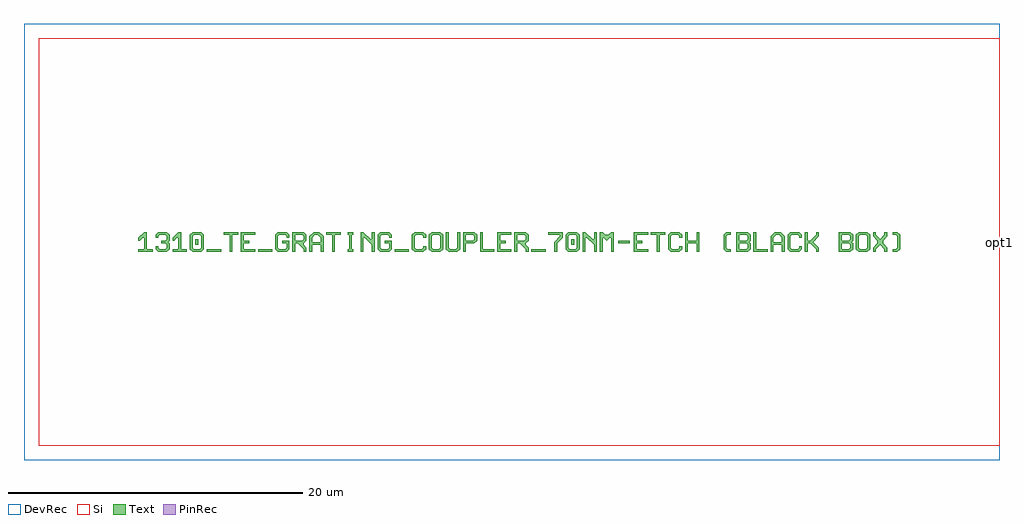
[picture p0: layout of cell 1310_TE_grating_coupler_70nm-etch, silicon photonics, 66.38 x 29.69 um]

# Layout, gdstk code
import gdstk
lib = gdstk.Library(unit=1e-6, precision=1e-09)
def R(c, l, rs):  # rectangles x0, y0, x1, y1
    for r in rs: c.add(gdstk.rectangle(r[:2], r[2:], *l))
def A(c, l, x, y, w, h, nx, ny, dx, dy):  # array of equal rectangles
    R(c, l, [(x+i*dx, y+j*dy, x+i*dx+w, y+j*dy+h) for i in range(nx) for j in range(ny)])
def P(c, l, *ps):  # polygons
    for p in ps: c.add(gdstk.Polygon(p, *l))
Si = (1, 0)
PinRec = (1, 10)
Text = (10, 0)
DevRec = (68, 0)

text = lib.new_cell('TEXT')
A(text, Text, 8.134, 0, 0.969, 0.194, 3, 1, 9.296, 0)
R(text, Text, [(4.648,0,5.617,0.194), (3.873,0.484,4.067,0.872), (29.437,0.484,29.631,0.872), (32.633,0.581,33.408,0.775)])
P(text, Text, [(0,0),(0,0.194),(0.387,0.194),(0.387,0.969),(0.291,0.969),(0.097,0.775),(0,0.775),(0,0.969),(0.387,1.356),(0.581,1.356),(0.581,0.194),(0.969,0.194),(0.969,0)],
  [(1.356,0),(1.162,0.194),(1.162,0.387),(1.356,0.387),(1.356,0.291),(1.453,0.194),(1.84,0.194),(1.937,0.291),(1.937,0.484),(1.84,0.581),(1.549,0.581),(1.549,0.775),(1.84,0.775),(1.937,0.872),(1.937,1.065),(1.84,1.162),(1.453,1.162),(1.356,1.065),(1.356,0.969),(1.162,0.969),(1.162,1.162),(1.356,1.356),(1.937,1.356),(2.131,1.162),(2.131,0.775),(2.034,0.678),(2.131,0.581),(2.131,0.194),(1.937,0)],
  [(2.324,0),(2.324,0.194),(2.711,0.194),(2.711,0.969),(2.615,0.969),(2.421,0.775),(2.324,0.775),(2.324,0.969),(2.711,1.356),(2.905,1.356),(2.905,0.194),(3.293,0.194),(3.293,0)],
  [(3.68,0),(3.486,0.194),(3.486,1.162),(3.68,1.356),(4.261,1.356),(4.455,1.162),(3.777,1.162),(3.68,1.065),(3.68,0.291),(3.777,0.194),(4.164,0.194),(4.261,0.291),(4.261,1.065),(4.164,1.162),(4.455,1.162),(4.455,0.194),(4.261,0)],
  [(6.197,0),(6.197,1.162),(5.81,1.162),(5.81,1.356),(6.779,1.356),(6.779,1.162),(6.391,1.162),(6.391,0)],
  [(6.972,0),(6.972,1.356),(7.941,1.356),(7.941,1.162),(7.166,1.162),(7.166,0.775),(7.553,0.775),(7.553,0.581),(7.166,0.581),(7.166,0.194),(7.941,0.194),(7.941,0)],
  [(9.49,0),(9.296,0.194),(9.296,1.162),(9.49,1.356),(10.071,1.356),(10.265,1.162),(10.265,0.969),(10.071,0.969),(10.071,1.065),(9.974,1.162),(9.587,1.162),(9.49,1.065),(9.49,0.291),(9.587,0.194),(9.974,0.194),(10.071,0.291),(10.071,0.581),(9.78,0.581),(9.78,0.775),(10.265,0.775),(10.265,0.194),(10.071,0)],
  [(10.458,0),(10.458,1.356),(11.233,1.356),(11.427,1.162),(10.652,1.162),(10.652,0.775),(11.136,0.775),(11.233,0.872),(11.233,1.065),(11.136,1.162),(11.427,1.162),(11.427,0.775),(11.233,0.581),(11.233,0.484),(11.427,0.291),(11.427,0),(11.233,0),(11.233,0.194),(10.845,0.581),(10.652,0.581),(10.652,0)],
  [(11.62,0),(11.62,1.065),(11.911,1.356),(12.298,1.356),(12.492,1.162),(12.007,1.162),(11.814,0.969),(11.814,0.678),(12.395,0.678),(12.395,0.969),(12.201,1.162),(12.492,1.162),(12.589,1.065),(12.589,0),(12.395,0),(12.395,0.484),(11.814,0.484),(11.814,0)],
  [(13.169,0),(13.169,1.162),(12.782,1.162),(12.782,1.356),(13.751,1.356),(13.751,1.162),(13.363,1.162),(13.363,0)],
  [(14.235,0),(14.235,0.194),(14.331,0.194),(14.331,1.162),(14.235,1.162),(14.235,1.356),(14.622,1.356),(14.622,1.162),(14.525,1.162),(14.525,0.194),(14.622,0.194),(14.622,0)],
  [(15.106,0),(15.106,1.356),(15.3,1.356),(15.784,0.872),(15.881,0.872),(15.881,1.356),(16.075,1.356),(16.075,0),(15.881,0),(15.881,0.484),(15.397,0.969),(15.3,0.969),(15.3,0)],
  [(16.462,0),(16.268,0.194),(16.268,1.162),(16.462,1.356),(17.043,1.356),(17.237,1.162),(17.237,0.969),(17.043,0.969),(17.043,1.065),(16.946,1.162),(16.559,1.162),(16.462,1.065),(16.462,0.291),(16.559,0.194),(16.946,0.194),(17.043,0.291),(17.043,0.581),(16.752,0.581),(16.752,0.775),(17.237,0.775),(17.237,0.194),(17.043,0)],
  [(18.786,0),(18.592,0.194),(18.592,1.162),(18.786,1.356),(19.367,1.356),(19.561,1.162),(19.561,0.969),(19.367,0.969),(19.367,1.065),(19.27,1.162),(18.883,1.162),(18.786,1.065),(18.786,0.291),(18.883,0.194),(19.27,0.194),(19.367,0.291),(19.367,0.387),(19.561,0.387),(19.561,0.194),(19.367,0)],
  [(19.948,0),(19.754,0.194),(19.754,1.162),(19.948,1.356),(20.529,1.356),(20.723,1.162),(20.723,0.678),(20.529,0.678),(20.529,1.065),(20.432,1.162),(20.045,1.162),(19.948,1.065),(19.948,0.291),(20.045,0.194),(20.432,0.194),(20.529,0.291),(20.529,0.678),(20.723,0.678),(20.723,0.194),(20.529,0)],
  [(21.11,0),(20.916,0.194),(20.916,1.356),(21.11,1.356),(21.11,0.291),(21.207,0.194),(21.594,0.194),(21.691,0.291),(21.691,1.356),(21.885,1.356),(21.885,0.194),(21.691,0)],
  [(22.078,0),(22.078,1.356),(22.853,1.356),(23.047,1.162),(23.047,0.775),(22.853,0.581),(22.272,0.581),(22.272,0.775),(22.756,0.775),(22.853,0.872),(22.853,1.065),(22.756,1.162),(22.272,1.162),(22.272,0)],
  [(23.24,0),(23.24,1.356),(23.434,1.356),(23.434,0.194),(24.209,0.194),(24.209,0)],
  [(24.402,0),(24.402,1.356),(25.371,1.356),(25.371,1.162),(24.596,1.162),(24.596,0.775),(24.983,0.775),(24.983,0.581),(24.596,0.581),(24.596,0.194),(25.371,0.194),(25.371,0)],
  [(25.564,0),(25.564,1.356),(26.339,1.356),(26.533,1.162),(25.758,1.162),(25.758,0.775),(26.242,0.775),(26.339,0.872),(26.339,1.065),(26.242,1.162),(26.533,1.162),(26.533,0.775),(26.339,0.581),(26.339,0.484),(26.533,0.291),(26.533,0),(26.339,0),(26.339,0.194),(25.951,0.581),(25.758,0.581),(25.758,0)],
  [(28.275,0),(28.275,0.678),(28.663,1.065),(28.663,1.162),(27.888,1.162),(27.888,1.356),(28.857,1.356),(28.857,0.969),(28.469,0.581),(28.469,0)],
  [(29.244,0),(29.05,0.194),(29.05,1.162),(29.244,1.356),(29.825,1.356),(30.019,1.162),(29.341,1.162),(29.244,1.065),(29.244,0.291),(29.341,0.194),(29.728,0.194),(29.825,0.291),(29.825,1.065),(29.728,1.162),(30.019,1.162),(30.019,0.194),(29.825,0)],
  [(30.212,0),(30.212,1.356),(30.406,1.356),(30.89,0.872),(30.987,0.872),(30.987,1.356),(31.181,1.356),(31.181,0),(30.987,0),(30.987,0.484),(30.503,0.969),(30.406,0.969),(30.406,0)],
  [(31.374,0),(31.374,1.356),(31.568,1.356),(31.761,1.162),(31.955,1.162),(32.149,1.356),(32.343,1.356),(32.343,0),(32.149,0),(32.149,0.969),(32.052,0.969),(31.858,0.775),(31.665,0.969),(31.568,0.969),(31.568,0)],
  [(33.698,0),(33.698,1.356),(34.667,1.356),(34.667,1.162),(33.892,1.162),(33.892,0.775),(34.279,0.775),(34.279,0.581),(33.892,0.581),(33.892,0.194),(34.667,0.194),(34.667,0)],
  [(35.247,0),(35.247,1.162),(34.86,1.162),(34.86,1.356),(35.829,1.356),(35.829,1.162),(35.441,1.162),(35.441,0)],
  [(36.216,0),(36.022,0.194),(36.022,1.162),(36.216,1.356),(36.797,1.356),(36.991,1.162),(36.991,0.969),(36.797,0.969),(36.797,1.065),(36.7,1.162),(36.313,1.162),(36.216,1.065),(36.216,0.291),(36.313,0.194),(36.7,0.194),(36.797,0.291),(36.797,0.387),(36.991,0.387),(36.991,0.194),(36.797,0)],
  [(37.184,0),(37.184,1.356),(37.378,1.356),(37.378,0.775),(37.959,0.775),(37.959,1.356),(38.153,1.356),(38.153,0),(37.959,0),(37.959,0.581),(37.378,0.581),(37.378,0)],
  [(39.992,0),(39.799,0.194),(39.799,1.162),(39.992,1.356),(40.283,1.356),(40.283,1.162),(40.089,1.162),(39.992,1.065),(39.992,0.291),(40.089,0.194),(40.283,0.194),(40.283,0)],
  [(40.67,0),(40.67,1.356),(41.445,1.356),(41.639,1.162),(40.864,1.162),(40.864,0.775),(41.348,0.775),(41.445,0.872),(41.445,1.065),(41.348,1.162),(41.639,1.162),(41.639,0.775),(41.542,0.678),(41.639,0.581),(40.864,0.581),(40.864,0.194),(41.348,0.194),(41.445,0.291),(41.445,0.484),(41.348,0.581),(41.639,0.581),(41.639,0.194),(41.445,0)],
  [(41.832,0),(41.832,1.356),(42.026,1.356),(42.026,0.194),(42.801,0.194),(42.801,0)],
  [(42.994,0),(42.994,1.065),(43.285,1.356),(43.672,1.356),(43.866,1.162),(43.381,1.162),(43.188,0.969),(43.188,0.678),(43.769,0.678),(43.769,0.969),(43.575,1.162),(43.866,1.162),(43.963,1.065),(43.963,0),(43.769,0),(43.769,0.484),(43.188,0.484),(43.188,0)],
  [(44.35,0),(44.156,0.194),(44.156,1.162),(44.35,1.356),(44.931,1.356),(45.125,1.162),(45.125,0.969),(44.931,0.969),(44.931,1.065),(44.834,1.162),(44.447,1.162),(44.35,1.065),(44.35,0.291),(44.447,0.194),(44.834,0.194),(44.931,0.291),(44.931,0.387),(45.125,0.387),(45.125,0.194),(44.931,0)],
  [(45.318,0),(45.318,1.356),(45.512,1.356),(45.512,0.775),(45.705,0.775),(46.093,1.162),(46.093,1.356),(46.287,1.356),(46.287,1.065),(45.899,0.678),(46.287,0.291),(46.287,0),(46.093,0),(46.093,0.194),(45.705,0.581),(45.512,0.581),(45.512,0)],
  [(47.642,0),(47.642,1.356),(48.417,1.356),(48.611,1.162),(47.836,1.162),(47.836,0.775),(48.32,0.775),(48.417,0.872),(48.417,1.065),(48.32,1.162),(48.611,1.162),(48.611,0.775),(48.514,0.678),(48.611,0.581),(47.836,0.581),(47.836,0.194),(48.32,0.194),(48.417,0.291),(48.417,0.484),(48.32,0.581),(48.611,0.581),(48.611,0.194),(48.417,0)],
  [(48.998,0),(48.804,0.194),(48.804,1.162),(48.998,1.356),(49.579,1.356),(49.773,1.162),(49.773,0.678),(49.579,0.678),(49.579,1.065),(49.482,1.162),(49.095,1.162),(48.998,1.065),(48.998,0.291),(49.095,0.194),(49.482,0.194),(49.579,0.291),(49.579,0.678),(49.773,0.678),(49.773,0.194),(49.579,0)],
  [(49.966,0),(49.966,0.291),(50.257,0.581),(50.257,0.775),(49.966,1.065),(49.966,1.356),(50.16,1.356),(50.16,1.162),(50.45,0.872),(50.741,1.162),(50.741,1.356),(50.935,1.356),(50.935,1.065),(50.644,0.775),(50.644,0.581),(50.935,0.291),(50.935,0),(50.741,0),(50.741,0.194),(50.45,0.484),(50.16,0.194),(50.16,0)],
  [(51.322,0),(51.322,0.194),(51.515,0.194),(51.612,0.291),(51.612,1.065),(51.515,1.162),(51.322,1.162),(51.322,1.356),(51.612,1.356),(51.806,1.162),(51.806,0.194),(51.612,0)])

c_1310_te_grating_coupler_ = lib.new_cell('1310_TE_grating_coupler_70nm-etch')
R(c_1310_te_grating_coupler_, Si, [(-32.739,-13.844,32.635,13.844)])
R(c_1310_te_grating_coupler_, DevRec, [(-33.739,-14.844,32.635,14.844)])
c_1310_te_grating_coupler_.add(gdstk.FlexPath([(32.625,0),(32.645,0)], 0.35, ends="flush", simple_path=True, layer=1, datatype=10))  # PinRec
c_1310_te_grating_coupler_.add(gdstk.Reference(text, (-25.955,-0.678)))
c_1310_te_grating_coupler_.add(gdstk.Label('opt1', (32.635,0), layer=1, texttype=10))

lib.write_gds('1310_TE_grating_coupler_70nm-etch.gds')
